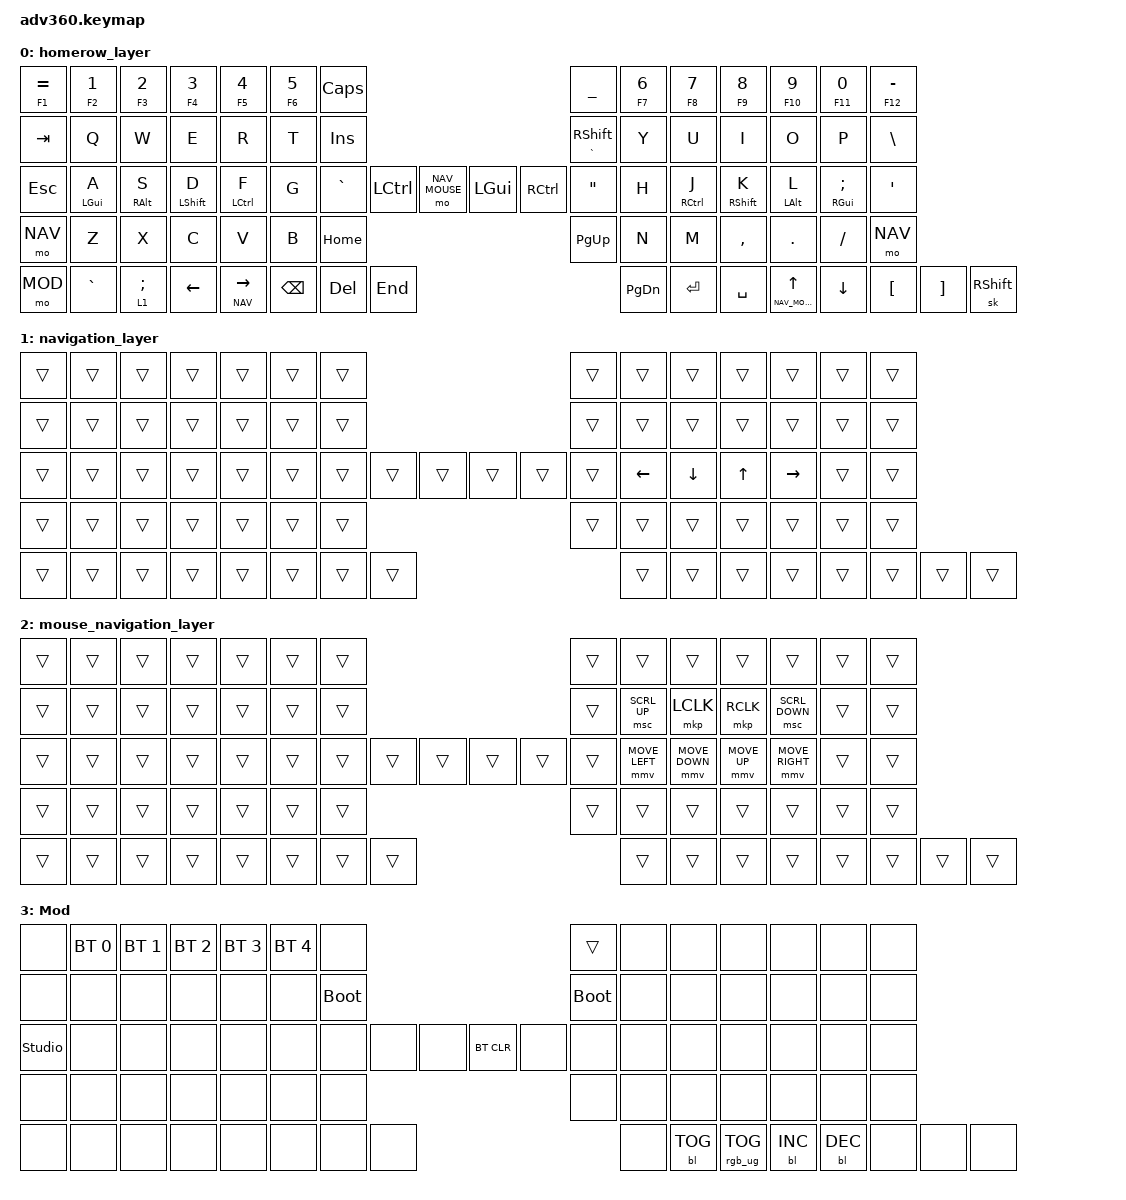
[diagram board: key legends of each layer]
#include <dt-bindings/zmk/stp.h>
#include <behaviors.dtsi>
#include <dt-bindings/zmk/backlight.h>
#include <dt-bindings/zmk/bt.h>
#include <dt-bindings/zmk/keys.h>
#include <dt-bindings/zmk/keys.h>
#include <dt-bindings/zmk/rgb.h>
#include <dt-bindings/zmk/pointing.h>

#define HOMEROW 0
#define NAV 1
#define NAV_MOUSE 2
#define MOD 3

#define ZMK_POINTING_DEFAULT_MOVE_VAL 1500  // default: 600
#define ZMK_POINTING_DEFAULT_SCRL_VAL 20    // default: 10

/ {
    behaviors {
      #include "macros.dtsi"
      #include "version.dtsi"

        hm: homerow_mods {
            compatible = "zmk,behavior-hold-tap";
            label = "HOMEROW_MODS";
            #binding-cells = <2>;
            tapping-term-ms = <190>;
            quick_tap_ms = <125>;
            global-quick-tap;
            flavor = "tap-preferred";
            bindings = <&kp>, <&kp>;
        };

        lb: balanced_layer {
            compatible = "zmk,behavior-hold-tap";
            label = "BALANCED_LAYER_MODS";
            #binding-cells = <2>;
            tapping-term-ms = <185>;
            quick-tap-ms = <135>;
            global-quick-tap;
            flavor = "tap-preferred";
            bindings = <&mo>, <&kp>;
        };
    };

    combos {
        compatible = "zmk,combos";

        shift2 {
            bindings = <&kp RSHFT>;
            key-positions = <42 43 41>;
        };

        esc2 {
            bindings = <&kp ESCAPE>;
            key-positions = <30 31 32>;
        };

        tab2 {
            bindings = <&kp TAB>;
            key-positions = <32 30 17>;
        };

        ctrl2 {
            bindings = <&kp RCTRL>;
            key-positions = <41 24 43>;
        };
    };

    keymap {
        compatible = "zmk,keymap";

        homerow_layer {
            bindings = <
&hm F1 EQUAL  &hm F2 N1   &hm F3 N2   &hm F4 N3    &hm F5 N4    &hm F6 N5  &kp CAPSLOCK                                                  &kp UNDER        &hm F7 N6  &hm F8 N7    &hm F9 N8    &hm F10 N9  &hm F11 N0     &hm F12 MINUS
&kp TAB       &kp Q       &kp W       &kp E        &kp R        &kp T      &kp INS                                                       &hm GRAVE RSHFT  &kp Y      &kp U        &kp I        &kp O       &kp P          &kp BSLH
&kp ESC       &hm LGUI A  &hm RALT S  &hm LSHFT D  &hm LCTRL F  &kp G      &kp GRAVE     &kp LCTRL   &mo NAV_MOUSE &kp LGUI   &kp RCTRL  &kp DQT          &kp H      &hm RCTRL J  &hm RSHFT K  &hm LALT L  &hm RGUI SEMI  &kp SQT
&mo NAV        &kp Z       &kp X       &kp C        &kp V        &kp B                                &kp HOME      &kp PG_UP                              &kp N      &kp M        &kp COMMA    &kp DOT     &kp FSLH       &mo NAV
&mo MOD         &kp GRAVE   &lb 1 SEMI  &kp LEFT     &lb NAV RIGHT                    &kp BSPC      &kp DELETE  &kp END       &kp PG_DN  &kp ENTER  &kp SPACE                   &lb NAV_MOUSE UP       &kp DOWN     &kp LBKT    &kp RBKT       &sk RSHFT
            >;
        };

        navigation_layer {
            bindings = <
&trans  &trans  &trans  &trans  &trans  &trans  &trans                                      &trans  &trans    &trans    &trans  &trans     &trans  &trans
&trans  &trans  &trans  &trans  &trans  &trans  &trans                                      &trans  &trans    &trans    &trans  &trans     &trans  &trans
&trans  &trans  &trans  &trans  &trans  &trans  &trans  &trans  &trans      &trans  &trans  &trans  &kp LEFT  &kp DOWN  &kp UP  &kp RIGHT  &trans  &trans
&trans  &trans  &trans  &trans  &trans  &trans                  &trans      &trans                  &trans    &trans    &trans  &trans     &trans  &trans
&trans  &trans  &trans  &trans  &trans          &trans  &trans  &trans      &trans  &trans  &trans            &trans    &trans  &trans     &trans  &trans
            >;
        };

        mouse_navigation_layer {
            bindings = <
&trans  &trans  &trans  &trans  &trans  &trans  &trans                                      &trans  &trans    &trans    &trans  &trans     &trans  &trans
&trans  &trans  &trans  &trans  &trans  &trans  &trans                                      &trans  &msc SCRL_UP    &mkp LCLK &mkp RCLK &msc SCRL_DOWN     &trans  &trans
&trans  &trans  &trans  &trans  &trans  &trans  &trans  &trans  &trans      &trans  &trans  &trans  &mmv MOVE_LEFT  &mmv MOVE_DOWN  &mmv MOVE_UP  &mmv MOVE_RIGHT  &trans  &trans
&trans  &trans  &trans  &trans  &trans  &trans                  &trans      &trans                  &trans    &trans    &trans  &trans     &trans  &trans
&trans  &trans  &trans  &trans  &trans          &trans  &trans  &trans      &trans  &trans  &trans            &trans    &trans  &trans     &trans  &trans
            >;
        };

        mod {
            display-name = "Mod";
            bindings = <
&none           &bt BT_SEL 0  &bt BT_SEL 1  &bt BT_SEL 2  &bt BT_SEL 3  &bt BT_SEL 4  &none                                                  &trans           &none  &none       &none       &none  &none  &none
&none           &none         &none         &none         &none         &none         &bootloader                                            &bootloader      &none  &none       &none       &none  &none  &none
&studio_unlock  &none         &none         &none         &none         &none         &none        &none  &none      &bt BT_CLR  &none       &none            &none  &none       &none       &none  &none  &none
&none           &none         &none         &none         &none         &none                             &none      &none                                    &none  &none       &none       &none  &none  &none
&none           &none         &none         &none         &none                       &none        &none  &none      &none       &bl BL_TOG  &rgb_ug RGB_TOG         &bl BL_INC  &bl BL_DEC  &none  &none  &none
            >;
        };

    };
};
